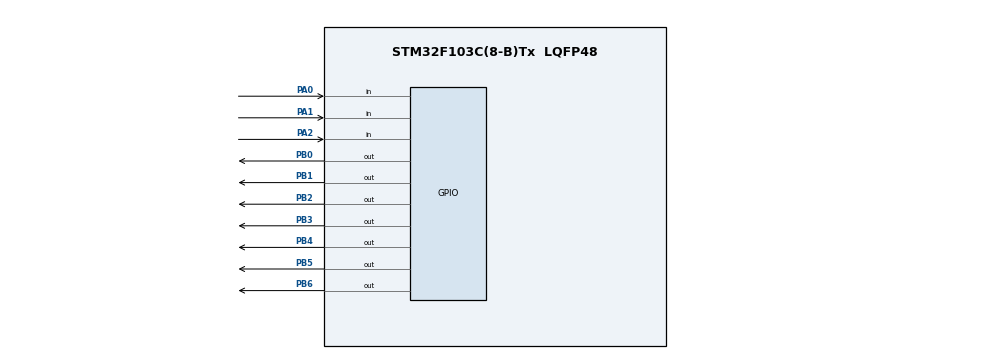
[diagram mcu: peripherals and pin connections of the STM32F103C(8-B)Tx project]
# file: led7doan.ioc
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Mcu.Family=STM32F1
Mcu.Name=STM32F103C(8-B)Tx
Mcu.Package=LQFP48
NVIC.PriorityGroup=NVIC_PRIORITYGROUP_4
PA0-WKUP.Signal=GPIO_Input
PA1.Signal=GPIO_Input
PA13.Mode=Serial_Wire
PA13.Signal=SYS_JTMS-SWDIO
PA14.Mode=Serial_Wire
PA14.Signal=SYS_JTCK-SWCLK
PA2.Signal=GPIO_Input
PB0.Signal=GPIO_Output
PB1.Signal=GPIO_Output
PB2.Signal=GPIO_Output
PB3.Signal=GPIO_Output
PB4.Signal=GPIO_Output
PB5.Signal=GPIO_Output
PB6.Signal=GPIO_Output
ProjectManager.HeapSize=0x200
ProjectManager.StackSize=0x400
ProjectManager.TargetToolchain=MDK-ARM V5.32
RCC.APB1Freq_Value=8000000
RCC.APB2Freq_Value=8000000
board=custom

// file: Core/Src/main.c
/* USER CODE BEGIN Header */
/**
  ******************************************************************************
  * @file           : main.c
  * @brief          : Main program body
  ******************************************************************************
  * @attention
  *
  * Copyright (c) 2022 STMicroelectronics.
  * All rights reserved.
  *
  * This software is licensed under terms that can be found in the LICENSE file
  * in the root directory of this software component.
  * If no LICENSE file comes with this software, it is provided AS-IS.
  *
  ******************************************************************************
  */
/* USER CODE END Header */
#include "main.h"

/* USER CODE BEGIN Includes */
#include "led7.h"
/* USER CODE END Includes */

/* USER CODE BEGIN PV */
	uint8_t i;
	uint8_t j;
	uint8_t down;
/* USER CODE END PV */

void SystemClock_Config(void);
static void MX_GPIO_Init(void);

/* USER CODE BEGIN 0 */

void HAL_GPIO_EXTI_Callback(uint16_t GPIO_Pin){
			uint16_t state;
			if(GPIO_Pin == GPIO_PIN_0){
				state = 1;
			}

			if(GPIO_Pin == GPIO_PIN_1){
					state = 0;
			}
}
/* USER CODE END 0 */

int main(void)
{
  /* USER CODE BEGIN 1 */
uint8_t state = 3;

  /* USER CODE END 1 */

  /* MCU Configuration--------------------------------------------------------*/

  /* Reset of all peripherals, Initializes the Flash interface and the Systick. */
  HAL_Init();

  /* Configure the system clock */
  SystemClock_Config();

  /* Initialize all configured peripherals */
  MX_GPIO_Init();

  /* Infinite loop */
  while (1)
  {

    /* USER CODE BEGIN 3 */
		if(state == 0){
				for (i = 0; i < 10; i++){
					 LED7_Number(i);
					 HAL_Delay(1000);	}
			if(state == 1){
					break;
							}
				}
			}
  /* USER CODE END 3 */
}

void SystemClock_Config(void)
{
  RCC_OscInitTypeDef RCC_OscInitStruct = {0};
  RCC_ClkInitTypeDef RCC_ClkInitStruct = {0};

  /** Initializes the RCC Oscillators according to the specified parameters
  * in the RCC_OscInitTypeDef structure.
  */
  RCC_OscInitStruct.OscillatorType = RCC_OSCILLATORTYPE_HSI;
  RCC_OscInitStruct.HSIState = RCC_HSI_ON;
  RCC_OscInitStruct.HSICalibrationValue = RCC_HSICALIBRATION_DEFAULT;
  RCC_OscInitStruct.PLL.PLLState = RCC_PLL_NONE;
  if (HAL_RCC_OscConfig(&RCC_OscInitStruct) != HAL_OK)
  {
    Error_Handler();
  }

  /** Initializes the CPU, AHB and APB buses clocks
  */
  RCC_ClkInitStruct.ClockType = RCC_CLOCKTYPE_HCLK|RCC_CLOCKTYPE_SYSCLK
                              |RCC_CLOCKTYPE_PCLK1|RCC_CLOCKTYPE_PCLK2;
  RCC_ClkInitStruct.SYSCLKSource = RCC_SYSCLKSOURCE_HSI;
  RCC_ClkInitStruct.AHBCLKDivider = RCC_SYSCLK_DIV1;
  RCC_ClkInitStruct.APB1CLKDivider = RCC_HCLK_DIV1;
  RCC_ClkInitStruct.APB2CLKDivider = RCC_HCLK_DIV1;

  if (HAL_RCC_ClockConfig(&RCC_ClkInitStruct, FLASH_LATENCY_0) != HAL_OK)
  {
    Error_Handler();
  }
}

static void MX_GPIO_Init(void)
{
  GPIO_InitTypeDef GPIO_InitStruct = {0};

  /* GPIO Ports Clock Enable */
  __HAL_RCC_GPIOA_CLK_ENABLE();
  __HAL_RCC_GPIOB_CLK_ENABLE();

  /*Configure GPIO pin Output Level */
  HAL_GPIO_WritePin(GPIOB, GPIO_PIN_0|GPIO_PIN_1|GPIO_PIN_2|GPIO_PIN_3
                          |GPIO_PIN_4|GPIO_PIN_5|GPIO_PIN_6, GPIO_PIN_RESET);

  /*Configure GPIO pins : PA0 PA1 PA2 */
  GPIO_InitStruct.Pin = GPIO_PIN_0|GPIO_PIN_1|GPIO_PIN_2;
  GPIO_InitStruct.Mode = GPIO_MODE_INPUT;
  GPIO_InitStruct.Pull = GPIO_NOPULL;
  HAL_GPIO_Init(GPIOA, &GPIO_InitStruct);

  /*Configure GPIO pins : PB0 PB1 PB2 PB3
                           PB4 PB5 PB6 */
  GPIO_InitStruct.Pin = GPIO_PIN_0|GPIO_PIN_1|GPIO_PIN_2|GPIO_PIN_3
                          |GPIO_PIN_4|GPIO_PIN_5|GPIO_PIN_6;
  GPIO_InitStruct.Mode = GPIO_MODE_OUTPUT_PP;
  GPIO_InitStruct.Pull = GPIO_NOPULL;
  GPIO_InitStruct.Speed = GPIO_SPEED_FREQ_LOW;
  HAL_GPIO_Init(GPIOB, &GPIO_InitStruct);

}

void Error_Handler(void)
{
  __disable_irq();
  while (1)
  {
  }
}
